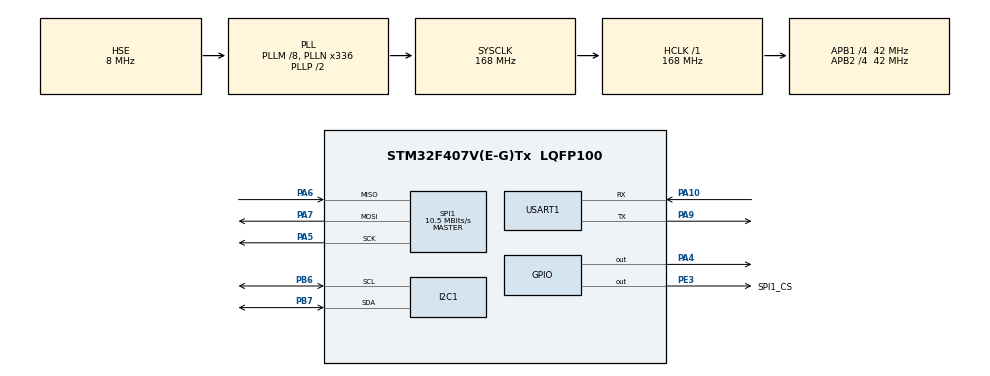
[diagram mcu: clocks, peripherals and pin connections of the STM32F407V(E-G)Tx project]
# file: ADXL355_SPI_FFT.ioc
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Dma.Request0=USART1_RX
Dma.USART1_RX.0.Direction=DMA_PERIPH_TO_MEMORY
Dma.USART1_RX.0.FIFOMode=DMA_FIFOMODE_DISABLE
Dma.USART1_RX.0.Instance=DMA2_Stream2
Dma.USART1_RX.0.MemDataAlignment=DMA_MDATAALIGN_BYTE
Dma.USART1_RX.0.MemInc=DMA_MINC_ENABLE
Dma.USART1_RX.0.Mode=DMA_NORMAL
Dma.USART1_RX.0.PeriphDataAlignment=DMA_PDATAALIGN_BYTE
Dma.USART1_RX.0.PeriphInc=DMA_PINC_DISABLE
Dma.USART1_RX.0.Priority=DMA_PRIORITY_LOW
I2C1.I2C_Mode=I2C_Standard
Mcu.Family=STM32F4
Mcu.Name=STM32F407V(E-G)Tx
Mcu.Package=LQFP100
NVIC.DMA2_Stream2_IRQn=true\:0\:0\:false\:false\:true\:true
NVIC.PriorityGroup=NVIC_PRIORITYGROUP_4
PA10.Mode=Asynchronous
PA10.Signal=USART1_RX
PA4.Signal=GPIO_Output
PA5.Mode=Full_Duplex_Master
PA5.Signal=SPI1_SCK
PA6.Mode=Full_Duplex_Master
PA6.Signal=SPI1_MISO
PA7.Mode=Full_Duplex_Master
PA7.Signal=SPI1_MOSI
PA9.Mode=Asynchronous
PA9.Signal=USART1_TX
PB6.Mode=I2C
PB6.Signal=I2C1_SCL
PB7.Mode=I2C
PB7.Signal=I2C1_SDA
PC14-OSC32_IN.Mode=LSE-External-Oscillator
PC14-OSC32_IN.Signal=RCC_OSC32_IN
PC15-OSC32_OUT.Mode=LSE-External-Oscillator
PC15-OSC32_OUT.Signal=RCC_OSC32_OUT
PE3.GPIO_Label=SPI1_CS
PE3.GPIO_PuPd=GPIO_PULLUP
PE3.Signal=GPIO_Output
PH0-OSC_IN.Mode=HSE-External-Oscillator
PH0-OSC_IN.Signal=RCC_OSC_IN
PH1-OSC_OUT.Mode=HSE-External-Oscillator
PH1-OSC_OUT.Signal=RCC_OSC_OUT
ProjectManager.HeapSize=0x200
ProjectManager.StackSize=0x400
ProjectManager.TargetToolchain=SW4STM32
RCC.48MHZClocksFreq_Value=48000000
RCC.AHBFreq_Value=168000000
RCC.APB1CLKDivider=RCC_HCLK_DIV4
RCC.APB1Freq_Value=42000000
RCC.APB1TimFreq_Value=84000000
RCC.APB2CLKDivider=RCC_HCLK_DIV4
RCC.APB2Freq_Value=42000000
RCC.APB2TimFreq_Value=84000000
RCC.CortexFreq_Value=168000000
RCC.HCLKFreq_Value=168000000
RCC.HSE_VALUE=8000000
RCC.HSI_VALUE=16000000
RCC.PLLM=8
RCC.PLLN=336
RCC.PLLQ=7
RCC.PLLSourceVirtual=RCC_PLLSOURCE_HSE
RCC.SYSCLKFreq_VALUE=168000000
RCC.SYSCLKSource=RCC_SYSCLKSOURCE_PLLCLK
RCC.VCOOutputFreq_Value=336000000
SPI1.BaudRatePrescaler=SPI_BAUDRATEPRESCALER_4
SPI1.CalculateBaudRate=10.5 MBits/s
SPI1.Direction=SPI_DIRECTION_2LINES
SPI1.Mode=SPI_MODE_MASTER
SPI1.VirtualType=VM_MASTER
USART1.VirtualMode=VM_ASYNC
board=ADXL355_SPI

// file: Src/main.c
/* USER CODE BEGIN Header */
/**
  ******************************************************************************
  * @file           : main.c
  * @brief          : Main program body
	* @author         : Ondrej Fišer
  ******************************************************************************
  ** This notice applies to any and all portions of this file
  * that are not between comment pairs USER CODE BEGIN and
  * USER CODE END. Other portions of this file, whether
  * inserted by the user or by software development tools
  * are owned by their respective copyright owners.
  *
  * COPYRIGHT(c) 2019 STMicroelectronics
  *
  * Redistribution and use in source and binary forms, with or without modification,
  * are permitted provided that the following conditions are met:
  *   1. Redistributions of source code must retain the above copyright notice,
  *      this list of conditions and the following disclaimer.
  *   2. Redistributions in binary form must reproduce the above copyright notice,
  *      this list of conditions and the following disclaimer in the documentation
  *      and/or other materials provided with the distribution.
  *   3. Neither the name of STMicroelectronics nor the names of its contributors
  *      may be used to endorse or promote products derived from this software
  *      without specific prior written permission.
  *
  * THIS SOFTWARE IS PROVIDED BY THE COPYRIGHT HOLDERS AND CONTRIBUTORS "AS IS"
  * AND ANY EXPRESS OR IMPLIED WARRANTIES, INCLUDING, BUT NOT LIMITED TO, THE
  * IMPLIED WARRANTIES OF MERCHANTABILITY AND FITNESS FOR A PARTICULAR PURPOSE ARE
  * DISCLAIMED. IN NO EVENT SHALL THE COPYRIGHT HOLDER OR CONTRIBUTORS BE LIABLE
  * FOR ANY DIRECT, INDIRECT, INCIDENTAL, SPECIAL, EXEMPLARY, OR CONSEQUENTIAL
  * DAMAGES (INCLUDING, BUT NOT LIMITED TO, PROCUREMENT OF SUBSTITUTE GOODS OR
  * SERVICES; LOSS OF USE, DATA, OR PROFITS; OR BUSINESS INTERRUPTION) HOWEVER
  * CAUSED AND ON ANY THEORY OF LIABILITY, WHETHER IN CONTRACT, STRICT LIABILITY,
  * OR TORT (INCLUDING NEGLIGENCE OR OTHERWISE) ARISING IN ANY WAY OUT OF THE USE
  * OF THIS SOFTWARE, EVEN IF ADVISED OF THE POSSIBILITY OF SUCH DAMAGE.
  *
  ******************************************************************************
  */
/* USER CODE END Header */

#include "main.h"

/* USER CODE BEGIN Includes */
#include <string.h>
#include <stdbool.h>
#include <stdio.h>
#include <math.h>
#include "SSD1306.h"
#include "fonts.h"
#include "signal_processing.h"
#include "ADXL3557.h"
#include "IOcontrol.h"
/* USER CODE END Includes */

I2C_HandleTypeDef hi2c1;

SPI_HandleTypeDef hspi1;

UART_HandleTypeDef huart1;
DMA_HandleTypeDef hdma_usart1_rx;

/* USER CODE BEGIN PV */

#define ONE_SECOND 1000

char buffer[100];
uint8_t b[16];
int32_t vzorky;
int32_t temp;
uint8_t single[2];
float Axcomp,Aycomp,Azcomp;
/* USER CODE END PV */

void SystemClock_Config(void);
static void MX_GPIO_Init(void);
static void MX_DMA_Init(void);
static void MX_USART1_UART_Init(void);
static void MX_SPI1_Init(void);
static void MX_I2C1_Init(void);

/* USER CODE BEGIN 0 */

Comp *sig,*f, *sig0;
/* USER CODE END 0 */

int main(void)
{
  /* USER CODE BEGIN 1 */
	int32_t x[3];
  int fifo_index=0;
 	float Xreal,Yreal,Zreal,Treal,Vx,Vy,Vz;
	uint32_t pocitadlo=0;
	uint32_t hodiny=0;

	 sig = (Comp *)malloc(sizeof(Comp) * (size_t)512);
	 sig0 = (Comp *)malloc(sizeof(Comp) * (size_t)512);
	 f = (Comp *)malloc(sizeof(Comp) * (size_t)512);
  /* USER CODE END 1 */

  /* MCU Configuration--------------------------------------------------------*/

  /* Reset of all peripherals, Initializes the Flash interface and the Systick. */
  HAL_Init();

  /* Configure the system clock */
  SystemClock_Config();

  /* Initialize all configured peripherals */
  MX_GPIO_Init();
  MX_DMA_Init();
  MX_USART1_UART_Init();
  MX_SPI1_Init();
  MX_I2C1_Init();
  /* USER CODE BEGIN 2 */

  ssd1306_Init();
  ADXL_init();

  /* USER CODE END 2 */

  /* Infinite loop */
  /* USER CODE BEGIN WHILE */
  while (1)
  {
		SPI_Recv_Multi2(FIFO_ENTRIES,1);

		if(b[0])
		{
			vzorky=b[0];
			SPI_Recv_Multi2(FIFO_DATA,3);

			if(b[2]&0x01) fifo_index= 0;
			else fifo_index=(fifo_index+1)%3;

			x[fifo_index]= (b[0]<<16 | b[1]<<8 | b[2]);
			x[fifo_index]= Data_Conversion (x[fifo_index]);

			if(fifo_index==2)
			{
				SPI_Recv_Multi2(TEMP_START,TEMP_LENGTH);
				temp = b[0] << 8 | b[1];
				temp = (1852 - temp);

				Xreal=x[0];
				Yreal=x[1];
				Zreal=x[2];
				Treal=(float)temp/SCALE_TEMPL+SCALE_TEMPH;
				gravity_compenzation(Xreal,Yreal,Zreal);

				G_to_MS();
				if(hodiny==0) hodiny=HAL_GetTick();
				if (Axcomp>0) Vx+=Axcomp;

				Vy+=Aycomp;
				Vz+=Azcomp;

				pocitadlo++;
				RPM_calculation((float)Xreal,false);
				if(HAL_GetTick()-hodiny>=ONE_SECOND)
				{
					Vx=Axcomp/(3.14*2*vzorky);
					Vy/=pocitadlo;
					Vz/=pocitadlo;
					sprintf(buffer,"%.1f,%.1f,%.1f",fabs(Vx),fabs(Vy),fabs(Vz));
					LCD_print(buffer,Font_11x18,White,0,0,true,false);
					//HAL_UART_Transmit(&huart1,(uint8_t *)buffer,strlen(buffer), 1);
					sprintf(buffer,"%d - %d",pocitadlo,vzorky);
					//HAL_UART_Transmit(&huart1,(uint8_t *)buffer,strlen(buffer), 1);
					LCD_print(buffer,Font_11x18,White,0,45,false,true);

	 				Vx=0;
					Vy=0;
					Vz=0;
					pocitadlo=0;
					hodiny=HAL_GetTick();
				}

			}

		}
	}
    /* USER CODE END WHILE */

}

void SystemClock_Config(void)
{
  RCC_OscInitTypeDef RCC_OscInitStruct = {0};
  RCC_ClkInitTypeDef RCC_ClkInitStruct = {0};

  /**Configure the main internal regulator output voltage
  */
  __HAL_RCC_PWR_CLK_ENABLE();
  __HAL_PWR_VOLTAGESCALING_CONFIG(PWR_REGULATOR_VOLTAGE_SCALE1);
  /**Initializes the CPU, AHB and APB busses clocks
  */
  RCC_OscInitStruct.OscillatorType = RCC_OSCILLATORTYPE_HSE;
  RCC_OscInitStruct.HSEState = RCC_HSE_ON;
  RCC_OscInitStruct.PLL.PLLState = RCC_PLL_ON;
  RCC_OscInitStruct.PLL.PLLSource = RCC_PLLSOURCE_HSE;
  RCC_OscInitStruct.PLL.PLLM = 8;
  RCC_OscInitStruct.PLL.PLLN = 336;
  RCC_OscInitStruct.PLL.PLLP = RCC_PLLP_DIV2;
  RCC_OscInitStruct.PLL.PLLQ = 7;
  if (HAL_RCC_OscConfig(&RCC_OscInitStruct) != HAL_OK)
  {
    Error_Handler();
  }
  /**Initializes the CPU, AHB and APB busses clocks
  */
  RCC_ClkInitStruct.ClockType = RCC_CLOCKTYPE_HCLK|RCC_CLOCKTYPE_SYSCLK
                              |RCC_CLOCKTYPE_PCLK1|RCC_CLOCKTYPE_PCLK2;
  RCC_ClkInitStruct.SYSCLKSource = RCC_SYSCLKSOURCE_PLLCLK;
  RCC_ClkInitStruct.AHBCLKDivider = RCC_SYSCLK_DIV1;
  RCC_ClkInitStruct.APB1CLKDivider = RCC_HCLK_DIV4;
  RCC_ClkInitStruct.APB2CLKDivider = RCC_HCLK_DIV4;

  if (HAL_RCC_ClockConfig(&RCC_ClkInitStruct, FLASH_LATENCY_5) != HAL_OK)
  {
    Error_Handler();
  }
}

static void MX_I2C1_Init(void)
{

  hi2c1.Instance = I2C1;
  hi2c1.Init.ClockSpeed = 100000;
  hi2c1.Init.DutyCycle = I2C_DUTYCYCLE_2;
  hi2c1.Init.OwnAddress1 = 0;
  hi2c1.Init.AddressingMode = I2C_ADDRESSINGMODE_7BIT;
  hi2c1.Init.DualAddressMode = I2C_DUALADDRESS_DISABLE;
  hi2c1.Init.OwnAddress2 = 0;
  hi2c1.Init.GeneralCallMode = I2C_GENERALCALL_DISABLE;
  hi2c1.Init.NoStretchMode = I2C_NOSTRETCH_DISABLE;
  if (HAL_I2C_Init(&hi2c1) != HAL_OK)
  {
    Error_Handler();
  }

}

static void MX_SPI1_Init(void)
{

  /* SPI1 parameter configuration*/
  hspi1.Instance = SPI1;
  hspi1.Init.Mode = SPI_MODE_MASTER;
  hspi1.Init.Direction = SPI_DIRECTION_2LINES;
  hspi1.Init.DataSize = SPI_DATASIZE_8BIT;
  hspi1.Init.CLKPolarity = SPI_POLARITY_LOW;
  hspi1.Init.CLKPhase = SPI_PHASE_1EDGE;
  hspi1.Init.NSS = SPI_NSS_SOFT;
  hspi1.Init.BaudRatePrescaler = SPI_BAUDRATEPRESCALER_4;
  hspi1.Init.FirstBit = SPI_FIRSTBIT_MSB;
  hspi1.Init.TIMode = SPI_TIMODE_DISABLE;
  hspi1.Init.CRCCalculation = SPI_CRCCALCULATION_DISABLE;
  hspi1.Init.CRCPolynomial = 10;
  if (HAL_SPI_Init(&hspi1) != HAL_OK)
  {
    Error_Handler();
  }

}

static void MX_USART1_UART_Init(void)
{

  huart1.Instance = USART1;
  huart1.Init.BaudRate = 115200;
  huart1.Init.WordLength = UART_WORDLENGTH_8B;
  huart1.Init.StopBits = UART_STOPBITS_1;
  huart1.Init.Parity = UART_PARITY_NONE;
  huart1.Init.Mode = UART_MODE_TX_RX;
  huart1.Init.HwFlowCtl = UART_HWCONTROL_NONE;
  huart1.Init.OverSampling = UART_OVERSAMPLING_16;
  if (HAL_UART_Init(&huart1) != HAL_OK)
  {
    Error_Handler();
  }

}

static void MX_DMA_Init(void)
{
  /* DMA controller clock enable */
  __HAL_RCC_DMA2_CLK_ENABLE();

  /* DMA interrupt init */
  /* DMA2_Stream2_IRQn interrupt configuration */
  HAL_NVIC_SetPriority(DMA2_Stream2_IRQn, 0, 0);
  HAL_NVIC_EnableIRQ(DMA2_Stream2_IRQn);

}

static void MX_GPIO_Init(void)
{
  GPIO_InitTypeDef GPIO_InitStruct = {0};

  /* GPIO Ports Clock Enable */
  __HAL_RCC_GPIOE_CLK_ENABLE();
  __HAL_RCC_GPIOC_CLK_ENABLE();
  __HAL_RCC_GPIOH_CLK_ENABLE();
  __HAL_RCC_GPIOA_CLK_ENABLE();
  __HAL_RCC_GPIOB_CLK_ENABLE();
  __HAL_RCC_GPIOD_CLK_ENABLE();

  /*Configure GPIO pin Output Level */
  HAL_GPIO_WritePin(SPI1_CS_GPIO_Port, SPI1_CS_Pin, GPIO_PIN_RESET);

  /*Configure GPIO pin Output Level */
  HAL_GPIO_WritePin(GPIOA, GPIO_PIN_4, GPIO_PIN_RESET);

  /*Configure GPIO pins : PE2 PE4 PE5 PE6
                           PE7 PE8 PE9 PE10
                           PE11 PE12 PE13 PE14
                           PE15 PE0 PE1 */
  GPIO_InitStruct.Pin = GPIO_PIN_2|GPIO_PIN_4|GPIO_PIN_5|GPIO_PIN_6
                          |GPIO_PIN_7|GPIO_PIN_8|GPIO_PIN_9|GPIO_PIN_10
                          |GPIO_PIN_11|GPIO_PIN_12|GPIO_PIN_13|GPIO_PIN_14
                          |GPIO_PIN_15|GPIO_PIN_0|GPIO_PIN_1;
  GPIO_InitStruct.Mode = GPIO_MODE_ANALOG;
  GPIO_InitStruct.Pull = GPIO_NOPULL;
  HAL_GPIO_Init(GPIOE, &GPIO_InitStruct);

  /*Configure GPIO pin : SPI1_CS_Pin */
  GPIO_InitStruct.Pin = SPI1_CS_Pin;
  GPIO_InitStruct.Mode = GPIO_MODE_OUTPUT_PP;
  GPIO_InitStruct.Pull = GPIO_PULLUP;
  GPIO_InitStruct.Speed = GPIO_SPEED_FREQ_LOW;
  HAL_GPIO_Init(SPI1_CS_GPIO_Port, &GPIO_InitStruct);

  /*Configure GPIO pins : PC13 PC0 PC1 PC2
                           PC3 PC4 PC5 PC6
                           PC7 PC8 PC9 PC10
                           PC11 PC12 */
  GPIO_InitStruct.Pin = GPIO_PIN_13|GPIO_PIN_0|GPIO_PIN_1|GPIO_PIN_2
                          |GPIO_PIN_3|GPIO_PIN_4|GPIO_PIN_5|GPIO_PIN_6
                          |GPIO_PIN_7|GPIO_PIN_8|GPIO_PIN_9|GPIO_PIN_10
                          |GPIO_PIN_11|GPIO_PIN_12;
  GPIO_InitStruct.Mode = GPIO_MODE_ANALOG;
  GPIO_InitStruct.Pull = GPIO_NOPULL;
  HAL_GPIO_Init(GPIOC, &GPIO_InitStruct);

  /*Configure GPIO pins : PA0 PA1 PA2 PA3
                           PA8 PA11 PA12 PA13
                           PA14 PA15 */
  GPIO_InitStruct.Pin = GPIO_PIN_0|GPIO_PIN_1|GPIO_PIN_2|GPIO_PIN_3
                          |GPIO_PIN_8|GPIO_PIN_11|GPIO_PIN_12|GPIO_PIN_13
                          |GPIO_PIN_14|GPIO_PIN_15;
  GPIO_InitStruct.Mode = GPIO_MODE_ANALOG;
  GPIO_InitStruct.Pull = GPIO_NOPULL;
  HAL_GPIO_Init(GPIOA, &GPIO_InitStruct);

  /*Configure GPIO pin : PA4 */
  GPIO_InitStruct.Pin = GPIO_PIN_4;
  GPIO_InitStruct.Mode = GPIO_MODE_OUTPUT_PP;
  GPIO_InitStruct.Pull = GPIO_NOPULL;
  GPIO_InitStruct.Speed = GPIO_SPEED_FREQ_LOW;
  HAL_GPIO_Init(GPIOA, &GPIO_InitStruct);

  /*Configure GPIO pins : PB0 PB1 PB2 PB10
                           PB11 PB12 PB13 PB14
                           PB15 PB3 PB4 PB5
                           PB8 PB9 */
  GPIO_InitStruct.Pin = GPIO_PIN_0|GPIO_PIN_1|GPIO_PIN_2|GPIO_PIN_10
                          |GPIO_PIN_11|GPIO_PIN_12|GPIO_PIN_13|GPIO_PIN_14
                          |GPIO_PIN_15|GPIO_PIN_3|GPIO_PIN_4|GPIO_PIN_5
                          |GPIO_PIN_8|GPIO_PIN_9;
  GPIO_InitStruct.Mode = GPIO_MODE_ANALOG;
  GPIO_InitStruct.Pull = GPIO_NOPULL;
  HAL_GPIO_Init(GPIOB, &GPIO_InitStruct);

  /*Configure GPIO pins : PD8 PD9 PD10 PD11
                           PD12 PD13 PD14 PD15
                           PD0 PD1 PD2 PD3
                           PD4 PD5 PD6 PD7 */
  GPIO_InitStruct.Pin = GPIO_PIN_8|GPIO_PIN_9|GPIO_PIN_10|GPIO_PIN_11
                          |GPIO_PIN_12|GPIO_PIN_13|GPIO_PIN_14|GPIO_PIN_15
                          |GPIO_PIN_0|GPIO_PIN_1|GPIO_PIN_2|GPIO_PIN_3
                          |GPIO_PIN_4|GPIO_PIN_5|GPIO_PIN_6|GPIO_PIN_7;
  GPIO_InitStruct.Mode = GPIO_MODE_ANALOG;
  GPIO_InitStruct.Pull = GPIO_NOPULL;
  HAL_GPIO_Init(GPIOD, &GPIO_InitStruct);

}

void Error_Handler(void)
{
}

/************************ (C) COPYRIGHT STMicroelectronics *****END OF FILE****/
